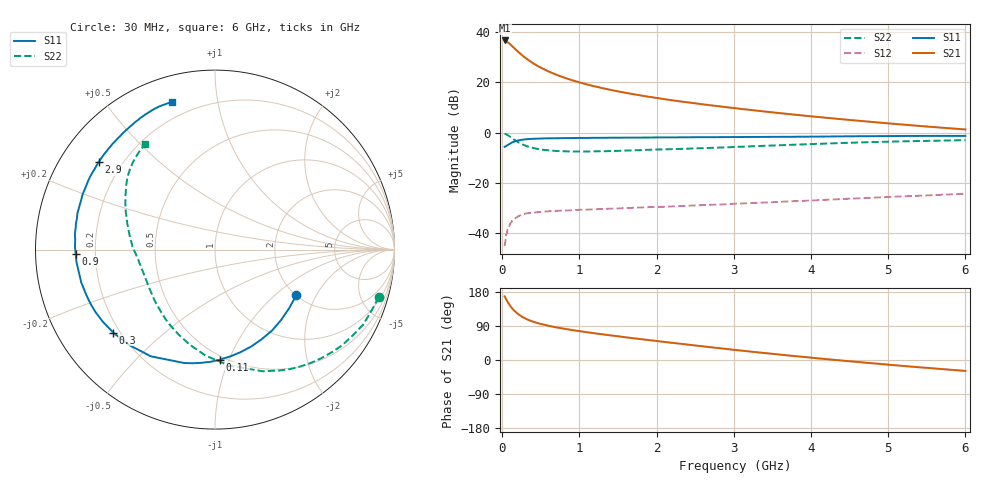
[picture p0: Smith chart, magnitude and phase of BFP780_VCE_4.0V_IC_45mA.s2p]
! Infineon Technologies  Discrete & RF Semiconductors
! BFP780
! VCE =  4.0 V,  IC =  45 mA
! Common Emitter S-Parameters:  Jul 2015
# GHz  S  MA  R  50
!  f  S11  S21  S12  S22
! GHz  MAG  ANG  MAG  ANG  MAG  ANG  MAG  ANG
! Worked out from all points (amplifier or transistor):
!   75 points, 30 MHz to 6 GHz, reference 50 ohm
!   highest |S21| = 36.6 dB at 30 MHz (marker M1)
!   |S21| within 3 dB of that: start of sweep to 153.3 MHz
!   unconditionally stable (mu >= 1): 2.019 GHz to end of sweep
!   at 150 MHz: K = 0.13, MSG = 34.1 dB, |S12| = -34.5 dB
!   at 2.3 GHz: K = 1.09, MAG = 19.0 dB, |S12| = -29.2 dB
!   at 6 GHz: K = 1.25, MAG = 9.8 dB, |S12| = -24.3 dB
!   S11 on the Smith chart (normalised r, x): 30 MHz: 2.01, -1.40; 110 MHz: 0.47, -0.93; 300 MHz: 0.17, -0.35; 900 MHz: 0.13, -0.02; 2.9 GHz: 0.12, +0.33; 6 GHz: 0.12, +0.74
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0.03  0.5194 -29.3  67.7 168.0  0.0055 70.3  0.9503 -16.2
0.05  0.5382 -46.9  65.49 160.0  0.0094 69.5  0.9255 -26.8
0.07  0.5634 -62.7  62.48 153.0  0.0128 58.8  0.8869 -36.9
0.09  0.5887 -75.9  59.01 146.5  0.0137 55.8  0.8461 -45.7
0.11  0.6136 -87.3  55.37 140.7  0.016 53.0  0.8046 -54.3
0.13  0.6358 -97.1  51.88 135.6  0.018 48.8  0.7644 -61.7
0.15  0.6549 -105.3  48.47 131.1  0.0189 46.7  0.7284 -68.6
0.2  0.6938 -121.0  41.01 121.9  0.0213 38.4  0.6494 -83.3
0.25  0.716 -132.3  35.16 114.8  0.0232 33.2  0.5928 -95.1
0.3  0.7316 -140.8  30.46 109.3  0.0245 30.2  0.5481 -104.9
0.4  0.7514 -152.5  23.82 101.1  0.0257 25.1  0.4925 -119.8
0.5  0.76 -160.4  19.45 95.1  0.0263 22.1  0.46 -130.6
0.7  0.7692 -171.0  14.11 86.1  0.0277 20.1  0.429 -145.6
0.9  0.7763 -178.2  11.02 79.2  0.0285 19.1  0.4191 -155.4
1.1  0.7806 176.1  9.008 73.2  0.0293 19.2  0.4192 -162.8
1.5  0.7886 167.2  6.576 62.6  0.031 20.1  0.4315 -172.8
2.1  0.7995 156.1  4.609 47.7  0.0334 20.6  0.4622 176.8
2.9  0.811 142.9  3.197 29.2  0.0375 22.0  0.5085 163.8
3.1  0.8142 139.9  2.944 24.8  0.0389 21.9  0.5225 160.6
4.1  0.8309 125.7  2.032 4.2  0.0452 21.3  0.596 146.5
5.1  0.8521 114.4  1.479 -14.0  0.0531 18.1  0.662 134.4
6  0.8567 106.2  1.15 -28.8  0.0608 13.8  0.7052 123.6
